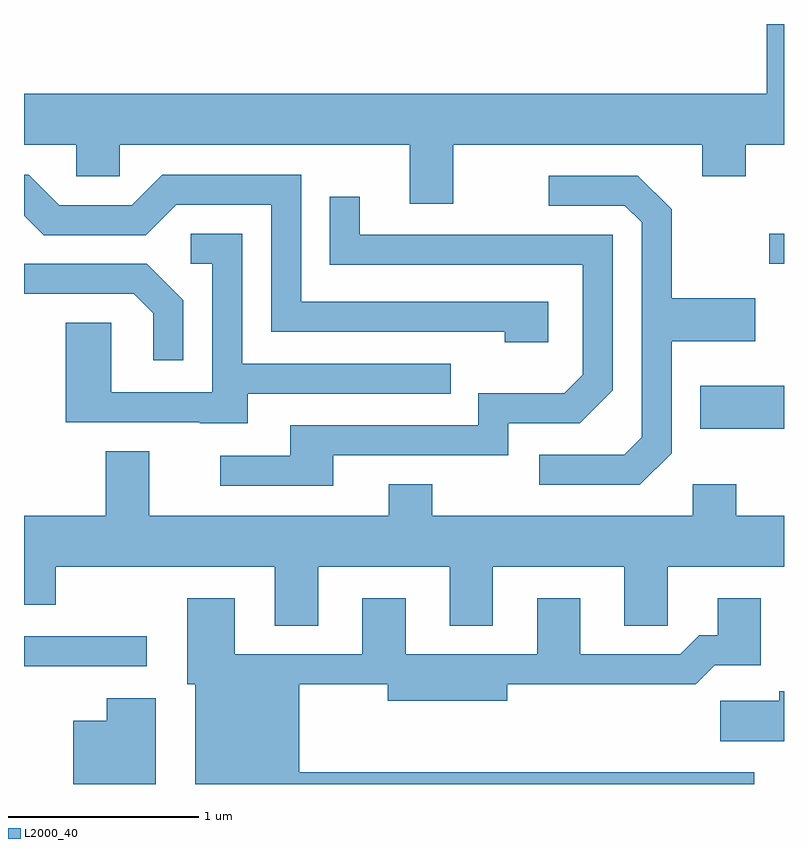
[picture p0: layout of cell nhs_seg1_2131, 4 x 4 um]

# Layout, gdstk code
import gdstk
lib = gdstk.Library(unit=1e-6, precision=1e-09)
def R(c, l, rs):  # rectangles x0, y0, x1, y1
    for r in rs: c.add(gdstk.rectangle(r[:2], r[2:], *l))
def P(c, l, *ps):  # polygons
    for p in ps: c.add(gdstk.Polygon(p, *l))
L2000_40 = (2000, 40)

nhs_seg1_2131 = lib.new_cell('nhs_seg1_2131')
R(nhs_seg1_2131, L2000_40, [(249.611,952.331,250.258,952.489), (253.171,953.581,253.611,953.809), (253.533,954.451,253.611,954.609)])
P(nhs_seg1_2131, L2000_40, [(251.869,955.076),(253.181,955.076),(253.181,954.911),(253.409,954.911),(253.409,955.076),(253.611,955.076),(253.611,955.712),(253.521,955.712),(253.521,955.344),(249.611,955.344),(249.611,955.076),(249.886,955.076),(249.886,954.911),(250.114,954.911),(250.114,955.076),(251.641,955.076),(251.641,954.766),(251.869,954.766)],
  [(252.369,954.249),(251.069,954.249),(251.069,954.919),(250.339,954.919),(250.179,954.759),(249.797,954.759),(249.637,954.919),(249.611,954.919),(249.611,954.704),(249.714,954.601),(250.252,954.601),(250.412,954.761),(250.911,954.761),(250.911,954.091),(252.141,954.091),(252.141,954.036),(252.369,954.036)],
  [(253.019,953.454),(253.019,954.041),(253.459,954.041),(253.459,954.269),(253.019,954.269),(253.019,954.737),(252.842,954.914),(252.373,954.914),(252.373,954.756),(252.774,954.756),(252.861,954.669),(252.861,953.537),(252.769,953.444),(252.323,953.444),(252.323,953.286),(252.852,953.286)],
  [(251.239,953.441),(252.159,953.441),(252.159,953.611),(252.537,953.611),(252.709,953.784),(252.709,954.604),(251.379,954.604),(251.379,954.803),(251.221,954.803),(251.221,954.446),(252.551,954.446),(252.551,953.867),(252.454,953.769),(252.001,953.769),(252.001,953.599),(251.011,953.599),(251.011,953.439),(250.643,953.439),(250.643,953.281),(251.239,953.281)],
  [(250.789,953.766),(251.858,953.766),(251.858,953.924),(250.759,953.924),(250.759,954.609),(250.488,954.609),(250.488,954.451),(250.601,954.451),(250.601,953.774),(250.069,953.774),(250.069,954.139),(249.831,954.139),(249.831,953.616),(250.535,953.616),(250.535,953.611),(250.789,953.611)],
  [(250.449,954.257),(250.257,954.449),(249.611,954.449),(249.611,954.291),(250.189,954.291),(250.291,954.189),(250.291,953.943),(250.449,953.943)],
  [(251.159,952.856),(251.851,952.856),(251.851,952.546),(252.079,952.546),(252.079,952.856),(252.771,952.856),(252.771,952.546),(252.999,952.546),(252.999,952.856),(253.611,952.856),(253.611,953.124),(253.359,953.124),(253.359,953.289),(253.131,953.289),(253.131,953.124),(251.759,953.124),(251.759,953.289),(251.531,953.289),(251.531,953.124),(250.269,953.124),(250.269,953.464),(250.041,953.464),(250.041,953.124),(249.611,953.124),(249.611,952.656),(249.779,952.656),(249.779,952.856),(250.931,952.856),(250.931,952.546),(251.159,952.546)],
  [(253.454,951.774),(251.059,951.774),(251.059,952.236),(251.526,952.236),(251.526,952.151),(252.154,952.151),(252.154,952.236),(253.147,952.236),(253.247,952.336),(253.489,952.336),(253.489,952.689),(253.261,952.689),(253.261,952.494),(253.164,952.494),(253.064,952.394),(252.539,952.394),(252.539,952.689),(252.311,952.689),(252.311,952.394),(251.619,952.394),(251.619,952.689),(251.391,952.689),(251.391,952.394),(250.719,952.394),(250.719,952.689),(250.471,952.689),(250.471,952.236),(250.511,952.236),(250.511,951.712),(253.454,951.712)],
  [(253.611,952.199),(253.586,952.199),(253.586,952.149),(253.276,952.149),(253.276,951.936),(253.611,951.936)],
  [(250.304,952.164),(250.046,952.164),(250.046,952.044),(249.871,952.044),(249.871,951.712),(250.304,951.712)])

lib.write_gds('nhs_seg1_2131.gds')
